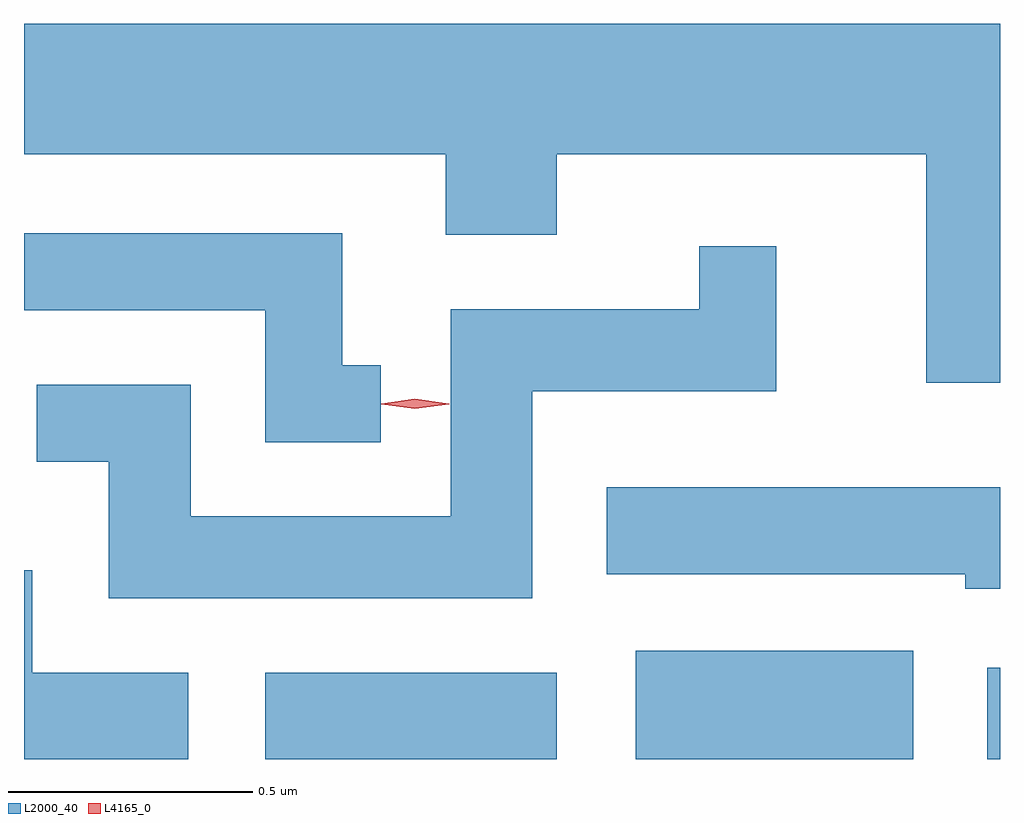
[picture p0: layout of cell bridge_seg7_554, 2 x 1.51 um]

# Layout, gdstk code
import gdstk
lib = gdstk.Library(unit=1e-6, precision=1e-09)
def R(c, l, rs):  # rectangles x0, y0, x1, y1
    for r in rs: c.add(gdstk.rectangle(r[:2], r[2:], *l))
def P(c, l, *ps):  # polygons
    for p in ps: c.add(gdstk.Polygon(p, *l))
L2000_40 = (2000, 40)
L4165_0 = (4165, 0)

bridge_seg7_554 = lib.new_cell('bridge_seg7_554')
R(bridge_seg7_554, L2000_40, [(849.491,1775.236,850.089,1775.414), (850.251,1775.236,850.819,1775.459), (850.971,1775.236,850.997,1775.424)])
P(bridge_seg7_554, L2000_40, [(850.997,1776.744),(848.997,1776.744),(848.997,1776.476),(849.861,1776.476),(849.861,1776.311),(850.089,1776.311),(850.089,1776.476),(850.846,1776.476),(850.846,1776.008),(850.997,1776.008)],
  [(849.728,1776.044),(849.649,1776.044),(849.649,1776.314),(848.997,1776.314),(848.997,1776.156),(849.491,1776.156),(849.491,1775.886),(849.728,1775.886)],
  [(850.039,1775.991),(850.539,1775.991),(850.539,1776.288),(850.381,1776.288),(850.381,1776.159),(849.871,1776.159),(849.871,1775.734),(849.339,1775.734),(849.339,1776.004),(849.023,1776.004),(849.023,1775.846),(849.171,1775.846),(849.171,1775.566),(850.039,1775.566)],
  [(850.997,1775.794),(850.191,1775.794),(850.191,1775.616),(850.926,1775.616),(850.926,1775.586),(850.997,1775.586)],
  [(849.334,1775.414),(849.014,1775.414),(849.014,1775.624),(848.997,1775.624),(848.997,1775.236),(849.334,1775.236)])
P(bridge_seg7_554, L4165_0, [(849.798,1775.955),(849.729,1775.964),(849.729,1775.965),(849.729,1775.965),(849.798,1775.975),(849.868,1775.965),(849.868,1775.965),(849.868,1775.964)])

lib.write_gds('bridge_seg7_554.gds')
